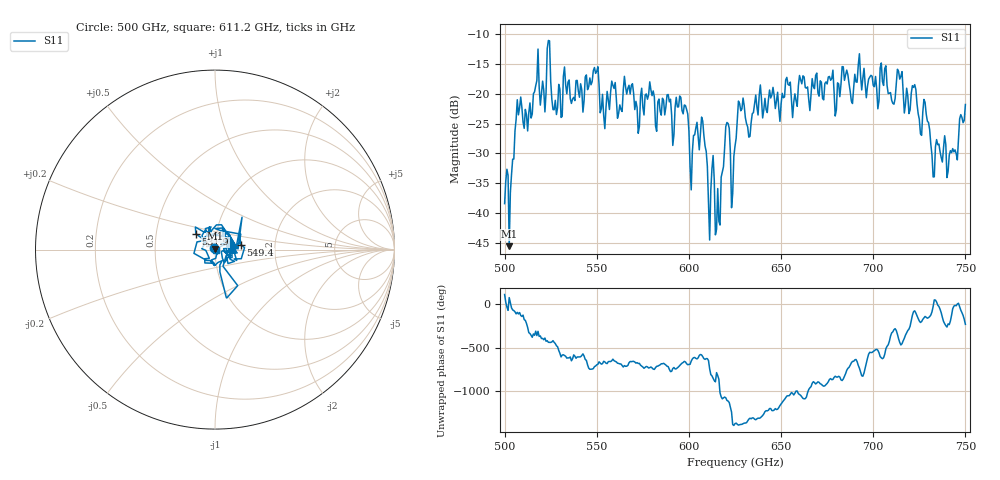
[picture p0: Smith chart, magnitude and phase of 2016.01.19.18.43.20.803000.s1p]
!Created with skrf (http://scikit-rf.org).
# GHz S RI R 50.0
!freq ReS11 ImS11
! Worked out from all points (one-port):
!   401 points, 500 GHz to 750 GHz, reference 50 ohm
!   lowest |S11| = -45.5 dB at 502.5 GHz (marker M1), VSWR 1.01, Z = 50.1 + j0.523 ohm
!   |S11| at or under -10 dB: start of sweep to end of sweep
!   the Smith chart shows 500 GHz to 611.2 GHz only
!   S11 on the Smith chart (normalised r, x): 500 GHz: 0.99, +0.02; 531.9 GHz: 0.80, +0.14; 549.4 GHz: 1.34, +0.07; 611.2 GHz: 1.01, -0.00
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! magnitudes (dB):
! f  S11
! 500 GHz  -38.4
! 502.5 GHz  -45.5
! 508.1 GHz  -22.4
! 520.6 GHz  -17.9
! 523.8 GHz  -11.1
! 526.9 GHz  -22.7
! 531.2 GHz  -23.8
! 531.9 GHz  -17.2
! 549.4 GHz  -16.6
! 553.1 GHz  -20.1
! 562.5 GHz  -21.9
! 593.8 GHz  -22.2
! 601.2 GHz  -36.1
! 607.5 GHz  -24.6
! 611.2 GHz  -44.4
! 615.6 GHz  -35.9
! 620.6 GHz  -24.8
! 623.8 GHz  -36.7
! 625 GHz  -28.8
! 628.1 GHz  -22.9
! 656.2 GHz  -24.0
! 687.5 GHz  -19.6
! 714.4 GHz  -17.6
! 718.8 GHz  -20.4
! 728.8 GHz  -23.4
! 732.5 GHz  -33.9
! 744.4 GHz  -29.4
! 750 GHz  -21.8
